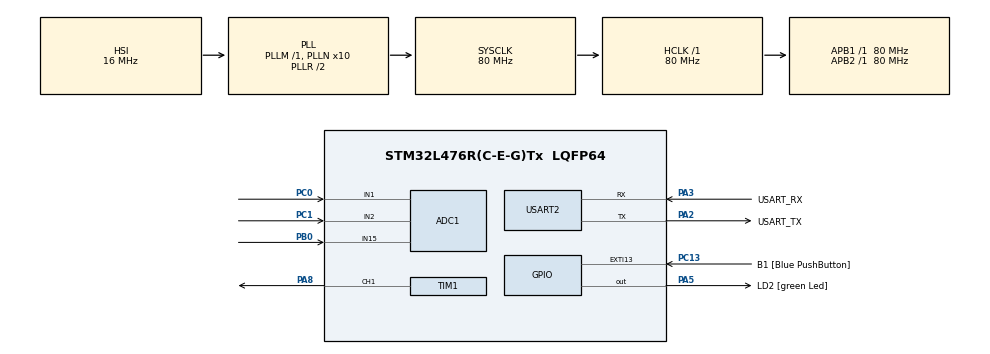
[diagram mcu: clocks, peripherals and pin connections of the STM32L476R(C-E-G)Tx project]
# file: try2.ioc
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ADC1.Channel-0\#ChannelRegularConversion=ADC_CHANNEL_1
ADC1.Channel-1\#ChannelRegularConversion=ADC_CHANNEL_1
ADC1.Channel-2\#ChannelRegularConversion=ADC_CHANNEL_1
ADC1.ContinuousConvMode=ENABLE
ADC1.EOCSelection=ADC_EOC_SEQ_CONV
ADC1.NbrOfConversion=3
ADC1.NbrOfConversionFlag=1
ADC1.OffsetNumber-0\#ChannelRegularConversion=ADC_OFFSET_NONE
ADC1.OffsetNumber-1\#ChannelRegularConversion=ADC_OFFSET_NONE
ADC1.OffsetNumber-2\#ChannelRegularConversion=ADC_OFFSET_NONE
ADC1.Rank-0\#ChannelRegularConversion=1
ADC1.Rank-1\#ChannelRegularConversion=2
ADC1.Rank-2\#ChannelRegularConversion=3
ADC1.SamplingTime-0\#ChannelRegularConversion=ADC_SAMPLETIME_2CYCLES_5
ADC1.SamplingTime-1\#ChannelRegularConversion=ADC_SAMPLETIME_2CYCLES_5
ADC1.SamplingTime-2\#ChannelRegularConversion=ADC_SAMPLETIME_2CYCLES_5
ADC1.master=1
Mcu.Family=STM32L4
Mcu.Name=STM32L476R(C-E-G)Tx
Mcu.Package=LQFP64
NVIC.PriorityGroup=NVIC_PRIORITYGROUP_4
PA13\ (JTMS-SWDIO).GPIO_Label=TMS
PA13\ (JTMS-SWDIO).Mode=Serial_Wire
PA13\ (JTMS-SWDIO).Signal=SYS_JTMS-SWDIO
PA14\ (JTCK-SWCLK).GPIO_Label=TCK
PA14\ (JTCK-SWCLK).Mode=Serial_Wire
PA14\ (JTCK-SWCLK).Signal=SYS_JTCK-SWCLK
PA2.GPIO_Label=USART_TX
PA2.GPIO_Mode=GPIO_MODE_AF_PP
PA2.GPIO_PuPd=GPIO_NOPULL
PA2.GPIO_Speed=GPIO_SPEED_FREQ_VERY_HIGH
PA2.Mode=Asynchronous
PA2.Signal=USART2_TX
PA3.GPIO_Label=USART_RX
PA3.GPIO_Mode=GPIO_MODE_AF_PP
PA3.GPIO_PuPd=GPIO_NOPULL
PA3.GPIO_Speed=GPIO_SPEED_FREQ_VERY_HIGH
PA3.Mode=Asynchronous
PA3.Signal=USART2_RX
PA5.GPIO_Label=LD2 [green Led]
PA5.GPIO_ModeDefaultOutputPP=GPIO_MODE_OUTPUT_PP
PA5.GPIO_PuPd=GPIO_NOPULL
PA5.GPIO_Speed=GPIO_SPEED_FREQ_LOW
PA5.Signal=GPIO_Output
PA8.Signal=S_TIM1_CH1
PB0.Signal=ADCx_IN15
PB3\ (JTDO-TRACESWO).GPIO_Label=SWO
PB3\ (JTDO-TRACESWO).Signal=SYS_JTDO-SWO
PC0.Signal=ADCx_IN1
PC1.Signal=ADCx_IN2
PC13.GPIO_Label=B1 [Blue PushButton]
PC13.GPIO_ModeDefaultEXTI=GPIO_MODE_IT_FALLING
PC13.GPIO_PuPd=GPIO_NOPULL
PC13.Signal=GPXTI13
PC14-OSC32_IN\ (PC14).Mode=LSE-External-Oscillator
PC14-OSC32_IN\ (PC14).Signal=RCC_OSC32_IN
PC15-OSC32_OUT\ (PC15).Mode=LSE-External-Oscillator
PC15-OSC32_OUT\ (PC15).Signal=RCC_OSC32_OUT
PH0-OSC_IN\ (PH0).Signal=RCC_OSC_IN
PH1-OSC_OUT\ (PH1).Signal=RCC_OSC_OUT
ProjectManager.HeapSize=0x200
ProjectManager.StackSize=0x400
ProjectManager.TargetToolchain=STM32CubeIDE
RCC.ADCFreq_Value=64000000
RCC.AHBFreq_Value=80000000
RCC.APB1Freq_Value=80000000
RCC.APB1TimFreq_Value=80000000
RCC.APB2Freq_Value=80000000
RCC.APB2TimFreq_Value=80000000
RCC.CortexFreq_Value=80000000
RCC.HCLKFreq_Value=80000000
RCC.HSE_VALUE=8000000
RCC.HSI_VALUE=16000000
RCC.MSI_VALUE=4000000
RCC.PLLN=10
RCC.PLLSourceVirtual=RCC_PLLSOURCE_HSI
RCC.PREFETCH_ENABLE=1
RCC.SYSCLKFreq_VALUE=80000000
RCC.SYSCLKSource=RCC_SYSCLKSOURCE_PLLCLK
RCC.USBFreq_Value=64000000
RCC.VCOOutputFreq_Value=160000000
SH.ADCx_IN1.0=ADC1_IN1,IN1-Single-Ended
SH.ADCx_IN15.0=ADC1_IN15,IN15-Single-Ended
SH.ADCx_IN2.0=ADC1_IN2,IN2-Single-Ended
SH.S_TIM1_CH1.0=TIM1_CH1,PWM Generation1 CH1
STMicroelectronics.X-CUBE-ALGOBUILD.1.3.0.LibraryCcDSPOoLibraryJjDSPOoLibrary=true
TIM1.Channel-PWM\ Generation1\ CH1=TIM_CHANNEL_1
TIM1.Period=20000-1
TIM1.Prescaler=8000-1
TIM1.Pulse-PWM\ Generation1\ CH1=10000-1
USART2.VirtualMode-Asynchronous=VM_ASYNC
VP_STMicroelectronics.X-CUBE-ALGOBUILD_VS_DSPOoLibraryJjLibrary_1.3.0_1.3.0.Mode=DSPOoLibraryJjLibrary
VP_TIM1_VS_ClockSourceINT.Mode=Internal
board=NUCLEO-L476RG

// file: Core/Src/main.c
/* USER CODE BEGIN Header */
/**
  ******************************************************************************
  * @file           : main.c
  * @brief          : Main program body
  ******************************************************************************
  * @attention
  *
  * Copyright (c) 2023 STMicroelectronics.
  * All rights reserved.
  *
  * This software is licensed under terms that can be found in the LICENSE file
  * in the root directory of this software component.
  * If no LICENSE file comes with this software, it is provided AS-IS.
  *
  ******************************************************************************
  */
/* USER CODE END Header */
#include "main.h"

/* USER CODE BEGIN Includes */
#include "arm_math.h"
#include <stdio.h>
/* USER CODE END Includes */

/* USER CODE BEGIN PD */
#define FFT_LENGTH 512
#define SAMPLING_RATE 500
#define OFFSET 5
#define AMPLITUDE 2

/* USER CODE END PD */

ADC_HandleTypeDef hadc1;

TIM_HandleTypeDef htim1;

UART_HandleTypeDef huart2;

/* USER CODE BEGIN PV */
uint16_t ADC_A, ADC_B, ADC_C;

float input_fft[FFT_LENGTH];
float output_fft[FFT_LENGTH];
float output_fft_mag[FFT_LENGTH / 2];
float FFTMAGFORGRAPH;

arm_rfft_fast_instance_f32 fft_instance;
float32_t frequency = 45;

UART_HandleTypeDef huart2;

/* USER CODE END PV */

void SystemClock_Config(void);
static void MX_GPIO_Init(void);
static void MX_USART2_UART_Init(void);
static void MX_ADC1_Init(void);
static void MX_TIM1_Init(void);
/* USER CODE BEGIN PFP */
static void MX_USART2_UART_Init(void);

/* USER CODE END PFP */

int main(void)
{
  /* USER CODE BEGIN 1 */
	arm_rfft_fast_init_f32(&fft_instance, FFT_LENGTH);

	uint8_t MSG[50] = {'\0'};
  /* USER CODE END 1 */

  /* MCU Configuration--------------------------------------------------------*/

  /* Reset of all peripherals, Initializes the Flash interface and the Systick. */
  HAL_Init();

  /* Configure the system clock */
  SystemClock_Config();

  /* Initialize all configured peripherals */
  MX_GPIO_Init();
  MX_USART2_UART_Init();
  MX_ADC1_Init();
  MX_TIM1_Init();
  /* USER CODE BEGIN 2 */

  HAL_TIM_PWM_Start(&htim1, TIM_CHANNEL_1);

  float maxFFT = 0;
  int maxFFTIndex = 0;

  HAL_Delay(100);

  // creates a sine wave for debugging purposes
  for (int i = 0; i < FFT_LENGTH; i++) {
	  input_fft[i] = OFFSET + AMPLITUDE*arm_sin_f32(2 * M_PI * frequency * i /SAMPLING_RATE);
  }

  // calculates the FFT
  arm_rfft_fast_f32(&fft_instance, input_fft, output_fft, 0);
  // calculates the magnitude of the FFT (FFT produces real and imaginary numbers)
  arm_cmplx_mag_f32(output_fft, output_fft_mag, FFT_LENGTH/2);

  // prints the FFT magnitude
  for (int i = 1; i < FFT_LENGTH /2; i++) {
	  printf("frequency %f: %f \n", ((float32_t)(i*SAMPLING_RATE)/FFT_LENGTH), output_fft_mag);
	  sprintf(MSG, "frequency %f: %f\n", ((float32_t)(i*SAMPLING_RATE)/FFT_LENGTH), output_fft_mag[i]);
	       HAL_UART_Transmit(&huart2, MSG, sizeof(MSG), 100);
  }

  // prints the max FFT magnitude and its frequency
	for(int i = 1; i < FFT_LENGTH/2; i++)
	{
		if (output_fft_mag[i] > maxFFT)
		{
			maxFFT = output_fft_mag[i];
			maxFFTIndex = i;
		}
	}
  sprintf(MSG, "Max FFT Amplitude: %f at frequency: %f\n", maxFFT, ((float32_t)(maxFFTIndex*SAMPLING_RATE)/FFT_LENGTH));
  HAL_UART_Transmit(&huart2, MSG, sizeof(MSG), 100);

  /* USER CODE END 2 */

  /* Infinite loop */
  while (1)
  {

    /* USER CODE BEGIN 3 */
	  HAL_ADC_Start(&hadc1);
	  ADC_A = HAL_ADC_GetValue(&hadc1);
	  ADC_B = HAL_ADC_GetValue(&hadc1);
	  ADC_C = HAL_ADC_GetValue(&hadc1);
	  HAL_ADC_Stop(&hadc1);
	  HAL_Delay(100);
  }
  /* USER CODE END 3 */
}

void SystemClock_Config(void)
{
  RCC_OscInitTypeDef RCC_OscInitStruct = {0};
  RCC_ClkInitTypeDef RCC_ClkInitStruct = {0};

  /** Configure the main internal regulator output voltage
  */
  if (HAL_PWREx_ControlVoltageScaling(PWR_REGULATOR_VOLTAGE_SCALE1) != HAL_OK)
  {
    Error_Handler();
  }

  /** Initializes the RCC Oscillators according to the specified parameters
  * in the RCC_OscInitTypeDef structure.
  */
  RCC_OscInitStruct.OscillatorType = RCC_OSCILLATORTYPE_HSI;
  RCC_OscInitStruct.HSIState = RCC_HSI_ON;
  RCC_OscInitStruct.HSICalibrationValue = RCC_HSICALIBRATION_DEFAULT;
  RCC_OscInitStruct.PLL.PLLState = RCC_PLL_ON;
  RCC_OscInitStruct.PLL.PLLSource = RCC_PLLSOURCE_HSI;
  RCC_OscInitStruct.PLL.PLLM = 1;
  RCC_OscInitStruct.PLL.PLLN = 10;
  RCC_OscInitStruct.PLL.PLLP = RCC_PLLP_DIV7;
  RCC_OscInitStruct.PLL.PLLQ = RCC_PLLQ_DIV2;
  RCC_OscInitStruct.PLL.PLLR = RCC_PLLR_DIV2;
  if (HAL_RCC_OscConfig(&RCC_OscInitStruct) != HAL_OK)
  {
    Error_Handler();
  }

  /** Initializes the CPU, AHB and APB buses clocks
  */
  RCC_ClkInitStruct.ClockType = RCC_CLOCKTYPE_HCLK|RCC_CLOCKTYPE_SYSCLK
                              |RCC_CLOCKTYPE_PCLK1|RCC_CLOCKTYPE_PCLK2;
  RCC_ClkInitStruct.SYSCLKSource = RCC_SYSCLKSOURCE_PLLCLK;
  RCC_ClkInitStruct.AHBCLKDivider = RCC_SYSCLK_DIV1;
  RCC_ClkInitStruct.APB1CLKDivider = RCC_HCLK_DIV1;
  RCC_ClkInitStruct.APB2CLKDivider = RCC_HCLK_DIV1;

  if (HAL_RCC_ClockConfig(&RCC_ClkInitStruct, FLASH_LATENCY_4) != HAL_OK)
  {
    Error_Handler();
  }
}

static void MX_ADC1_Init(void)
{

  ADC_MultiModeTypeDef multimode = {0};
  ADC_ChannelConfTypeDef sConfig = {0};

  /** Common config
  */
  hadc1.Instance = ADC1;
  hadc1.Init.ClockPrescaler = ADC_CLOCK_ASYNC_DIV1;
  hadc1.Init.Resolution = ADC_RESOLUTION_12B;
  hadc1.Init.DataAlign = ADC_DATAALIGN_RIGHT;
  hadc1.Init.ScanConvMode = ADC_SCAN_ENABLE;
  hadc1.Init.EOCSelection = ADC_EOC_SEQ_CONV;
  hadc1.Init.LowPowerAutoWait = DISABLE;
  hadc1.Init.ContinuousConvMode = ENABLE;
  hadc1.Init.NbrOfConversion = 3;
  hadc1.Init.DiscontinuousConvMode = DISABLE;
  hadc1.Init.ExternalTrigConv = ADC_SOFTWARE_START;
  hadc1.Init.ExternalTrigConvEdge = ADC_EXTERNALTRIGCONVEDGE_NONE;
  hadc1.Init.DMAContinuousRequests = DISABLE;
  hadc1.Init.Overrun = ADC_OVR_DATA_PRESERVED;
  hadc1.Init.OversamplingMode = DISABLE;
  if (HAL_ADC_Init(&hadc1) != HAL_OK)
  {
    Error_Handler();
  }

  /** Configure the ADC multi-mode
  */
  multimode.Mode = ADC_MODE_INDEPENDENT;
  if (HAL_ADCEx_MultiModeConfigChannel(&hadc1, &multimode) != HAL_OK)
  {
    Error_Handler();
  }

  /** Configure Regular Channel
  */
  sConfig.Channel = ADC_CHANNEL_1;
  sConfig.Rank = ADC_REGULAR_RANK_1;
  sConfig.SamplingTime = ADC_SAMPLETIME_2CYCLES_5;
  sConfig.SingleDiff = ADC_SINGLE_ENDED;
  sConfig.OffsetNumber = ADC_OFFSET_NONE;
  sConfig.Offset = 0;
  if (HAL_ADC_ConfigChannel(&hadc1, &sConfig) != HAL_OK)
  {
    Error_Handler();
  }

  /** Configure Regular Channel
  */
  sConfig.Rank = ADC_REGULAR_RANK_2;
  if (HAL_ADC_ConfigChannel(&hadc1, &sConfig) != HAL_OK)
  {
    Error_Handler();
  }

  /** Configure Regular Channel
  */
  sConfig.Rank = ADC_REGULAR_RANK_3;
  if (HAL_ADC_ConfigChannel(&hadc1, &sConfig) != HAL_OK)
  {
    Error_Handler();
  }

}

static void MX_TIM1_Init(void)
{

  TIM_ClockConfigTypeDef sClockSourceConfig = {0};
  TIM_MasterConfigTypeDef sMasterConfig = {0};
  TIM_OC_InitTypeDef sConfigOC = {0};
  TIM_BreakDeadTimeConfigTypeDef sBreakDeadTimeConfig = {0};

  htim1.Instance = TIM1;
  htim1.Init.Prescaler = 8000-1;
  htim1.Init.CounterMode = TIM_COUNTERMODE_UP;
  htim1.Init.Period = 20000-1;
  htim1.Init.ClockDivision = TIM_CLOCKDIVISION_DIV1;
  htim1.Init.RepetitionCounter = 0;
  htim1.Init.AutoReloadPreload = TIM_AUTORELOAD_PRELOAD_DISABLE;
  if (HAL_TIM_Base_Init(&htim1) != HAL_OK)
  {
    Error_Handler();
  }
  sClockSourceConfig.ClockSource = TIM_CLOCKSOURCE_INTERNAL;
  if (HAL_TIM_ConfigClockSource(&htim1, &sClockSourceConfig) != HAL_OK)
  {
    Error_Handler();
  }
  if (HAL_TIM_PWM_Init(&htim1) != HAL_OK)
  {
    Error_Handler();
  }
  sMasterConfig.MasterOutputTrigger = TIM_TRGO_RESET;
  sMasterConfig.MasterOutputTrigger2 = TIM_TRGO2_RESET;
  sMasterConfig.MasterSlaveMode = TIM_MASTERSLAVEMODE_DISABLE;
  if (HAL_TIMEx_MasterConfigSynchronization(&htim1, &sMasterConfig) != HAL_OK)
  {
    Error_Handler();
  }
  sConfigOC.OCMode = TIM_OCMODE_PWM1;
  sConfigOC.Pulse = 10000-1;
  sConfigOC.OCPolarity = TIM_OCPOLARITY_HIGH;
  sConfigOC.OCNPolarity = TIM_OCNPOLARITY_HIGH;
  sConfigOC.OCFastMode = TIM_OCFAST_DISABLE;
  sConfigOC.OCIdleState = TIM_OCIDLESTATE_RESET;
  sConfigOC.OCNIdleState = TIM_OCNIDLESTATE_RESET;
  if (HAL_TIM_PWM_ConfigChannel(&htim1, &sConfigOC, TIM_CHANNEL_1) != HAL_OK)
  {
    Error_Handler();
  }
  sBreakDeadTimeConfig.OffStateRunMode = TIM_OSSR_DISABLE;
  sBreakDeadTimeConfig.OffStateIDLEMode = TIM_OSSI_DISABLE;
  sBreakDeadTimeConfig.LockLevel = TIM_LOCKLEVEL_OFF;
  sBreakDeadTimeConfig.DeadTime = 0;
  sBreakDeadTimeConfig.BreakState = TIM_BREAK_DISABLE;
  sBreakDeadTimeConfig.BreakPolarity = TIM_BREAKPOLARITY_HIGH;
  sBreakDeadTimeConfig.BreakFilter = 0;
  sBreakDeadTimeConfig.Break2State = TIM_BREAK2_DISABLE;
  sBreakDeadTimeConfig.Break2Polarity = TIM_BREAK2POLARITY_HIGH;
  sBreakDeadTimeConfig.Break2Filter = 0;
  sBreakDeadTimeConfig.AutomaticOutput = TIM_AUTOMATICOUTPUT_DISABLE;
  if (HAL_TIMEx_ConfigBreakDeadTime(&htim1, &sBreakDeadTimeConfig) != HAL_OK)
  {
    Error_Handler();
  }
  HAL_TIM_MspPostInit(&htim1);

}

static void MX_USART2_UART_Init(void)
{

  huart2.Instance = USART2;
  huart2.Init.BaudRate = 115200;
  huart2.Init.WordLength = UART_WORDLENGTH_8B;
  huart2.Init.StopBits = UART_STOPBITS_1;
  huart2.Init.Parity = UART_PARITY_NONE;
  huart2.Init.Mode = UART_MODE_TX_RX;
  huart2.Init.HwFlowCtl = UART_HWCONTROL_NONE;
  huart2.Init.OverSampling = UART_OVERSAMPLING_16;
  huart2.Init.OneBitSampling = UART_ONE_BIT_SAMPLE_DISABLE;
  huart2.AdvancedInit.AdvFeatureInit = UART_ADVFEATURE_NO_INIT;
  if (HAL_UART_Init(&huart2) != HAL_OK)
  {
    Error_Handler();
  }

}

static void MX_GPIO_Init(void)
{
  GPIO_InitTypeDef GPIO_InitStruct = {0};

  /* GPIO Ports Clock Enable */
  __HAL_RCC_GPIOC_CLK_ENABLE();
  __HAL_RCC_GPIOH_CLK_ENABLE();
  __HAL_RCC_GPIOA_CLK_ENABLE();
  __HAL_RCC_GPIOB_CLK_ENABLE();

  /*Configure GPIO pin Output Level */
  HAL_GPIO_WritePin(LD2_GPIO_Port, LD2_Pin, GPIO_PIN_RESET);

  /*Configure GPIO pin : B1_Pin */
  GPIO_InitStruct.Pin = B1_Pin;
  GPIO_InitStruct.Mode = GPIO_MODE_IT_FALLING;
  GPIO_InitStruct.Pull = GPIO_NOPULL;
  HAL_GPIO_Init(B1_GPIO_Port, &GPIO_InitStruct);

  /*Configure GPIO pin : LD2_Pin */
  GPIO_InitStruct.Pin = LD2_Pin;
  GPIO_InitStruct.Mode = GPIO_MODE_OUTPUT_PP;
  GPIO_InitStruct.Pull = GPIO_NOPULL;
  GPIO_InitStruct.Speed = GPIO_SPEED_FREQ_LOW;
  HAL_GPIO_Init(LD2_GPIO_Port, &GPIO_InitStruct);

}

void Error_Handler(void)
{
  __disable_irq();
  while (1)
  {
  }
}
